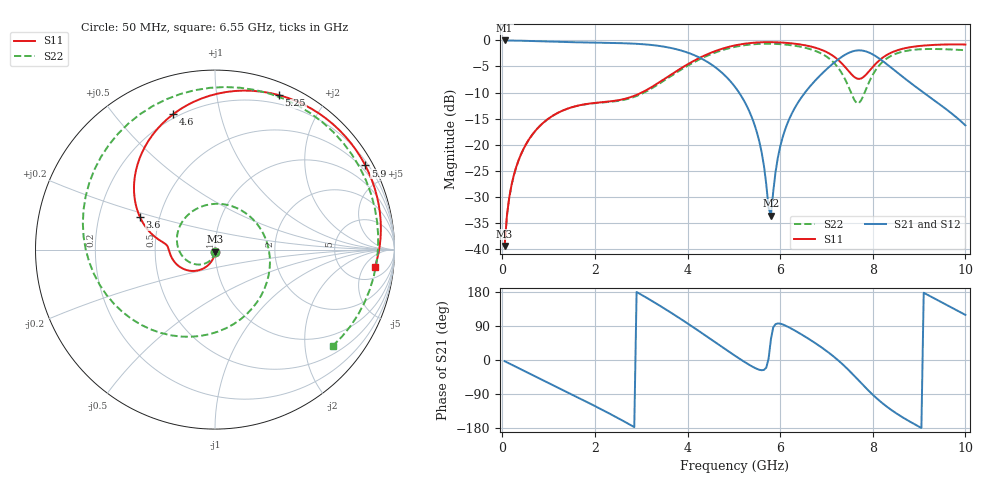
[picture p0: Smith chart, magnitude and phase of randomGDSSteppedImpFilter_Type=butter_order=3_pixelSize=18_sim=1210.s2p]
! freq	dB(S11)	phase(S11)	dB(S12)	phase(S12)
!  dB(S21)	phase(S21)	dB(S22)	phase(S22)
!S-par simulation data
#  GHz  S  DB  R 50
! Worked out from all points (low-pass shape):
!   200 points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, 50 MHz to 10 GHz, reference 50 ohm
!   highest |S21| = -0.01 dB at 50 MHz (marker M1); lowest = -33.6 dB at 5.8 GHz (marker M2)
!   |S21| within 3 dB of the highest: start of sweep to 4.191 GHz; 7.355 GHz to 8.061 GHz (706.3 MHz wide, 9.16 % of centre)
!   lowest |S11| = -39.4 dB at 50 MHz (marker M3), VSWR 1.02, Z = 50 - j1.07 ohm
!   |S11| at or under -10 dB: start of sweep to 3.009 GHz
!   |S22| runs from -39.4 to -0.6 dB; largest |S21 - S12| = 0
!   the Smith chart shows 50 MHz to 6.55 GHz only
!   S11 on the Smith chart (normalised r, x): 50 MHz: 1.00, -0.02; 3.6 GHz: 0.39, +0.18; 4.6 GHz: 0.18, +0.72; 5.25 GHz: 0.11, +1.49; 5.9 GHz: 0.32, +3.81; 6.55 GHz: 9, -9
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0.05  -39.41 -88.0  -0.01 -3.1  -0.01 -3.1  -39.43 -89.1
0.2  -27.69 -99.4  -0.03 -12.3  -0.03 -12.3  -27.71 -104.1
0.5  -20.10 -114.9  -0.08 -30.5  -0.08 -30.5  -20.12 -126.9
1.75  -12.29 -167.6  -0.39 -106.1  -0.39 -106.1  -12.32 134.2
2.65  -11.19 173.9  -0.56 -163.4  -0.56 -163.4  -11.35 38.3
3.4  -7.97 162.6  -1.07 143.4  -1.07 143.4  -8.24 -57.5
3.6  -6.81 156.5  -1.38 128.2  -1.38 128.2  -7.08 -81.9
4.1  -4.09 134.8  -2.67 88.4  -2.67 88.4  -4.37 -140.4
4.6  -2.05 107.1  -5.15 46.7  -5.15 46.7  -2.33 163.3
5.05  -0.91 79.8  -9.21 9.2  -9.21 9.2  -1.19 113.5
5.25  -0.62 67.6  -12.06 -6.6  -12.06 -6.6  -0.90 91.9
5.55  -0.38 49.5  -19.37 -25.8  -19.37 -25.8  -0.67 60.2
5.8  -0.34 35.0  -33.57 54.4  -33.57 54.4  -0.64 34.7
5.9  -0.36 29.3  -25.24 94.6  -25.24 94.6  -0.67 24.7
6.55  -0.96 -6.4  -9.84 60.8  -9.84 60.8  -1.44 -39.4
6.7  -1.26 -14.4  -8.25 49.2  -8.25 49.2  -1.82 -54.8
7.05  -2.46 -32.6  -5.14 19.3  -5.14 19.3  -3.42 -95.3
7.4  -5.07 -45.2  -2.77 -17.2  -2.77 -17.2  -7.41 -152.9
7.8  -7.02 -27.2  -1.99 -67.3  -1.99 -67.3  -10.53 60.6
8.35  -2.56 -33.8  -4.89 -127.4  -4.89 -127.4  -3.19 -46.8
9.05  -1.03 -63.4  -9.70 -179.3  -9.70 -179.3  -1.69 -116.8
10  -0.79 -100.4  -16.28 119.0  -16.28 119.0  -1.88 155.4
